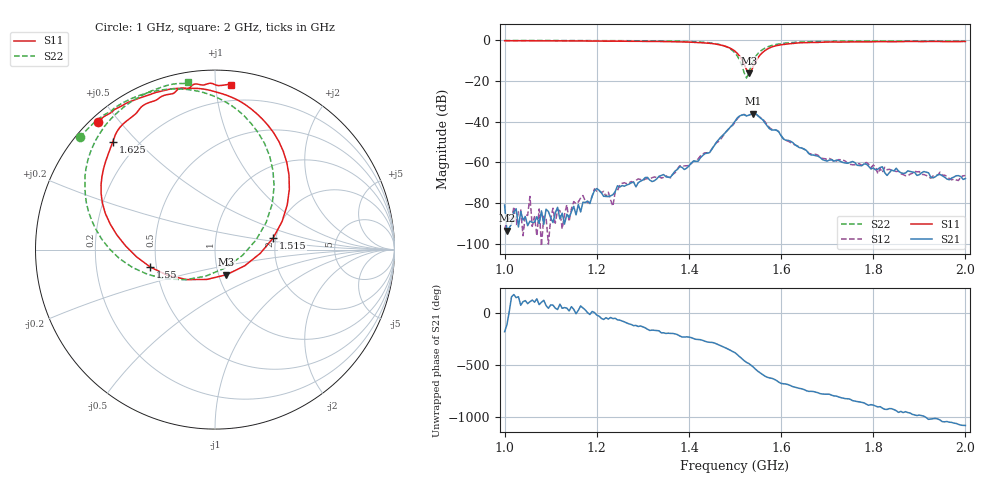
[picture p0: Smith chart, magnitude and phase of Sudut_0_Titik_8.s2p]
# Hz S RI R 50
! CMT, C1220, 16058040, 17.2.0/1
! Date: 14/08/2018 12:03:10
! Data: Format (Calibration Info)
! Freq  S11: Re/Im (F2)  S21: Re/Im (F2)  S12: Re/Im (F2)  S22: Re/Im (F2)
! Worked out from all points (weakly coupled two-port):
!   201 points, 1 GHz to 2 GHz, reference 50 ohm
!   highest |S21| = -36.02 dB at 1.54 GHz (marker M1); lowest = -93.5 dB at 1.005 GHz (marker M2)
!   lowest |S11| = -16.3 dB at 1.53 GHz (marker M3), VSWR 1.36, Z = 54.4 - j15.6 ohm
!   |S11| at or under -10 dB: 1.516 GHz to 1.546 GHz (30.35 MHz wide, 1.98 % of centre)
!   |S22| runs from -18.6 to -0.2 dB; largest |S21 - S12| = 0.00067
!   S11 on the Smith chart (normalised r, x): 1 GHz: 0.02, +0.44; 1.515 GHz: 1.93, +0.28; 1.55 GHz: 0.46, -0.11; 1.625 GHz: 0.11, +0.42; 2 GHz: 0.09, +1.10
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1e9  -0.6521 0.7098  -8.97e-05 -1.06e-06  -1.86e-05 -1.39e-05  -0.7534 0.6256
1.005e9  -0.6452 0.7146  -8.19e-06 -1.95e-05  -3.24e-05 1.09e-05  -0.7497 0.6298
1.17e9  -0.4832 0.8206  6.82e-05 8.04e-05  0.000154 9.78e-06  -0.6162 0.7515
1.185e9  -0.459 0.8299  9.49e-05 -2.27e-05  9.46e-05 -3.6e-05  -0.5989 0.7611
1.2e9  -0.4415 0.8359  0.000215 -7.71e-05  0.000183 -6.95e-05  -0.5822 0.7651
1.225e9  -0.4133 0.8467  7.76e-05 -0.000122  0.000128 -0.000135  -0.5659 0.7841
1.235e9  -0.3939 0.853  9.72e-05 -0.000129  6.51e-05 -5.38e-05  -0.5544 0.7932
1.255e9  -0.3585 0.8654  6.51e-05 -0.000262  2.33e-05 -0.000306  -0.5286 0.8089
1.335e9  -0.2258 0.8972  -0.000448 -7.66e-05  -0.00045 -1.22e-05  -0.3994 0.8661
1.36e9  -0.1546 0.8981  -0.000417 0.000117  -0.000402 0.000114  -0.3435 0.8813
1.45e9  0.174 0.8041  0.000453 0.00208  0.00054 0.0021  0.0245 0.8408
1.5e9  0.4142 0.336  0.00951 -0.00365  0.00892 -0.00346  0.3294 0.3523
1.515e9  0.3232 0.0636  0.0029 -0.0142  0.00324 -0.0142  0.2292 0.0544
1.525e9  0.1654 -0.0902  -0.00574 -0.0125  -0.00578 -0.0127  0.0573 -0.1024
1.53e9  0.0635 -0.1401  -0.0083 -0.0117  -0.00837 -0.0118  -0.0521 -0.148
1.54e9  -0.1585 -0.167  -0.0149 -0.00521  -0.0147 -0.00521  -0.2758 -0.1634
1.55e9  -0.3594 -0.098  -0.013 0.00507  -0.0131 0.00458  -0.4601 -0.0993
1.58e9  -0.6275 0.2592  -0.000205 0.00622  3.66e-05 0.00645  -0.7061 0.2163
1.625e9  -0.5696 0.5996  0.00301 0.000687  0.0028 0.00072  -0.7014 0.5219
1.67e9  -0.4568 0.744  0.00124 -0.000868  0.00128 -0.000881  -0.6248 0.6735
1.835e9  -0.1569 0.8962  -0.000528 0.000185  -0.000649 0.000191  -0.3751 0.8748
2e9  0.0885 0.9187  0.000403 -1.14e-05  0.000475 -3.12e-05  -0.1504 0.9336
